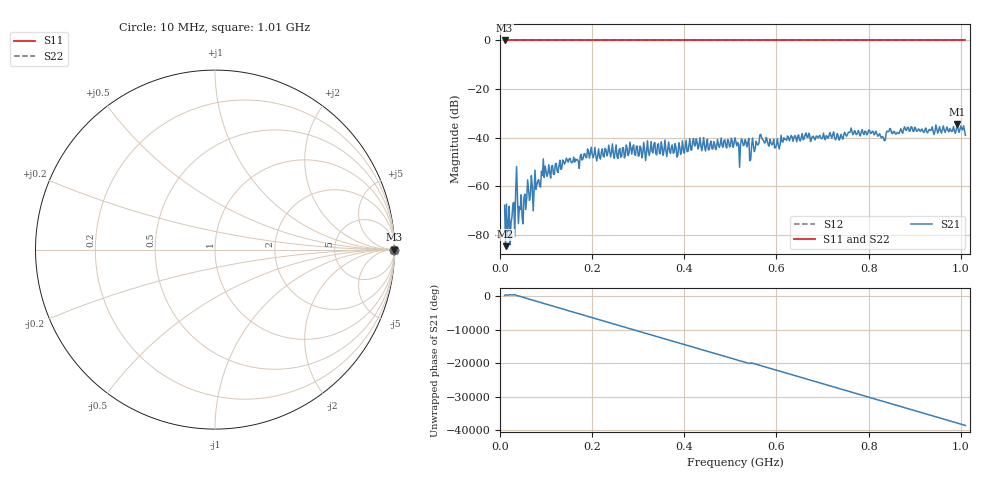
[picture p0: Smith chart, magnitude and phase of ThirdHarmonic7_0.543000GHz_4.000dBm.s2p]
! 8/17/2025 4:22:40 PM
! C:\ANRITSUVNA\TEMP\TEMP.S2P
! CHANNEL.1
! TR.MEASUREMENT
! RAW.DATA
! RF.CORRECTION.OFF
! AVERAGING.OFF
! IF.BANDWIDTH: 5KHZ
! SWEEPTYPE:  FREQ.SWEEP(Linear)
! Reference Plane Port Info
! PORT:  PORT1  PORT2
! DISTANCE:  0  m  0  m
! TIME:  0  s  0  s
! PHASE.OFFSET:  0  deg.  0  deg.
! LOSS:  0  dB  0  dB
! REF.LOSS:  0  dB  0  dB
! REF.FREQ:  0  Hz  0  Hz
! Power Info
! POWER:  -20  dBm  -20  dBm
! EFF.POWER:  -20  dBm  -20  dBm
! SOURCE.ATTEN:  0  dB  0  dB
! TEST.ATTEN:  0  dB  0  dB
# GHZ S RI R 50.0
! FREQ.GHZ  S11RE  S11IM  S21RE  S21IM  S12RE  S12IM  S22RE  S22IM
!; PortSelection: Port_12
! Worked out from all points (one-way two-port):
!   501 points, 10 MHz to 1.01 GHz, reference 50 ohm
!   highest |S21| = -34.34 dB at 992 MHz (marker M1); lowest = -84.5 dB at 12 MHz (marker M2)
!   lowest |S11| = 0.0 dB at 10 MHz (marker M3)
!   |S11| at or under -10 dB: nowhere
!   |S22| runs from 0.0 to 0.0 dB; largest |S21 - S12| = 1
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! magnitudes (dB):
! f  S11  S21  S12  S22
! 10 MHz  0.0  -67.7  0.0  0.0
! 12 MHz  0.0  -84.5  0.0  0.0
! 20 MHz  0.0  -68.1  0.0  0.0
! 32 MHz  0.0  -80.6  0.0  0.0
! 38 MHz  0.0  -64.9  0.0  0.0
! 44 MHz  0.0  -69.5  0.0  0.0
! 52 MHz  0.0  -64.4  0.0  0.0
! 64 MHz  0.0  -65.7  0.0  0.0
! 76 MHz  0.0  -53.3  0.0  0.0
! 94 MHz  0.0  -48.7  0.0  0.0
! 178 MHz  0.0  -49.1  0.0  0.0
! 344 MHz  0.0  -42.5  0.0  0.0
! 510 MHz  0.0  -40.0  0.0  0.0
! 546 MHz  0.0  -43.4  0.0  0.0
! 568 MHz  0.0  -40.1  0.0  0.0
! 602 MHz  0.0  -40.4  0.0  0.0
! 678 MHz  0.0  -39.5  0.0  0.0
! 760 MHz  0.0  -37.6  0.0  0.0
! 832 MHz  0.0  -40.0  0.0  0.0
! 844 MHz  0.0  -37.4  0.0  0.0
! 992 MHz  0.0  -34.3  0.0  0.0
! 1.01 GHz  0.0  -39.0  0.0  0.0
